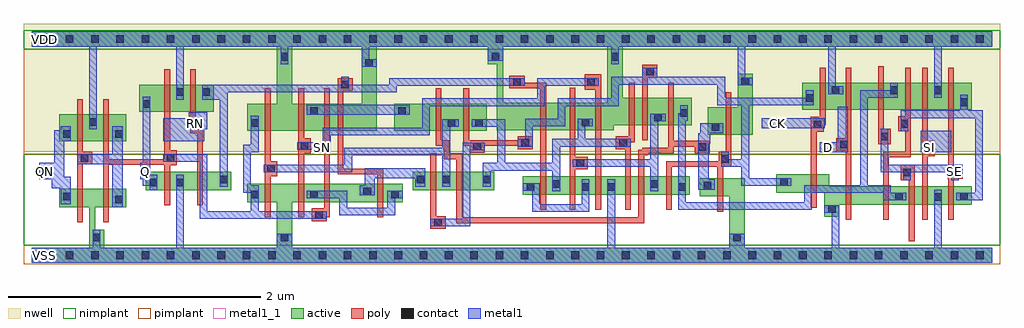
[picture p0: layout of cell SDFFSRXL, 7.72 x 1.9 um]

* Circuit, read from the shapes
.subckt SDFFSRXL CK D Q QN RN SE SI SN VDD VSS
M1 VSS n1 QN VSS nfet w=0.145u l=0.045u
M2 n1 n2 VSS VSS nfet w=0.145u l=0.045u
M3 VSS n2 Q VSS nfet w=0.145u l=0.045u
M4 n3 RN VSS VSS nfet w=0.145u l=0.045u
M5 VSS n4 n2 VSS nfet w=0.145u l=0.045u
M6 n5 SN VSS VSS nfet w=0.145u l=0.045u
M7 n6 n2 n5 VSS nfet w=0.145u l=0.045u
M8 n5 n3 n6 VSS nfet w=0.145u l=0.045u
M9 n4 n7 n6 VSS nfet w=0.145u l=0.045u
M10 n8 n9 n4 VSS nfet w=0.145u l=0.045u
M11 n8 n3 n10 VSS nfet w=0.145u l=0.045u
M12 n10 n11 n8 VSS nfet w=0.145u l=0.045u
M13 VSS SN n10 VSS nfet w=0.145u l=0.045u
M14 n12 n8 VSS VSS nfet w=0.145u l=0.045u
M15 n11 n9 n12 VSS nfet w=0.145u l=0.045u
M16 n13 n7 n11 VSS nfet w=0.145u l=0.045u
M17 VSS n7 n9 VSS nfet w=0.145u l=0.045u
M18 VSS CK n7 VSS nfet w=0.145u l=0.045u
M19 n14 D VSS VSS nfet w=0.145u l=0.045u
M20 n13 n15 n14 VSS nfet w=0.145u l=0.045u
M21 n16 SE n13 VSS nfet w=0.145u l=0.045u
M22 VSS SI n16 VSS nfet w=0.145u l=0.045u
M23 n15 SE VSS VSS nfet w=0.145u l=0.045u
M24 VDD n1 QN VDD pfet w=0.215u l=0.045u
M25 n1 n2 VDD VDD pfet w=0.215u l=0.045u
M26 VDD n2 Q VDD pfet w=0.215u l=0.045u
M27 n3 RN VDD VDD pfet w=0.215u l=0.045u
M28 VDD n4 n2 VDD pfet w=0.215u l=0.045u
M29 n17 SN VDD VDD pfet w=0.215u l=0.045u
M30 n18 n2 n17 VDD pfet w=0.215u l=0.045u
M31 VDD n3 n18 VDD pfet w=0.215u l=0.045u
M32 n4 n9 n17 VDD pfet w=0.215u l=0.045u
M33 n8 n7 n4 VDD pfet w=0.215u l=0.045u
M34 n19 n3 VDD VDD pfet w=0.215u l=0.045u
M35 n8 n11 n19 VDD pfet w=0.215u l=0.045u
M36 VDD SN n8 VDD pfet w=0.215u l=0.045u
M37 n20 n8 VDD VDD pfet w=0.215u l=0.045u
M38 n11 n7 n20 VDD pfet w=0.215u l=0.045u
M39 n13 n9 n11 VDD pfet w=0.215u l=0.045u
M40 VDD n7 n9 VDD pfet w=0.215u l=0.045u
M41 VDD CK n7 VDD pfet w=0.215u l=0.045u
M42 n21 D VDD VDD pfet w=0.215u l=0.045u
M43 n13 SE n21 VDD pfet w=0.215u l=0.045u
M44 n22 n15 n13 VDD pfet w=0.215u l=0.045u
M45 VDD SI n22 VDD pfet w=0.215u l=0.045u
M46 n15 SE VDD VDD pfet w=0.215u l=0.045u
.ends

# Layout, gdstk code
import gdstk
lib = gdstk.Library(unit=1e-6, precision=5e-10)
def R(c, l, rs):  # rectangles x0, y0, x1, y1
    for r in rs: c.add(gdstk.rectangle(r[:2], r[2:], *l))
def A(c, l, x, y, w, h, nx, ny, dx, dy):  # array of equal rectangles
    R(c, l, [(x+i*dx, y+j*dy, x+i*dx+w, y+j*dy+h) for i in range(nx) for j in range(ny)])
def P(c, l, *ps):  # polygons
    for p in ps: c.add(gdstk.Polygon(p, *l))
active = (1, 0)
nwell = (2, 0)
poly = (3, 0)
nimplant = (4, 0)
pimplant = (5, 0)
contact = (6, 0)
metal1 = (7, 0)
metal1_1 = (7, 1)

sdffsrxl = lib.new_cell('SDFFSRXL')
R(sdffsrxl, active, [(3.885,0.48,5.205,0.625), (0.905,0.515,1.58,0.66), (3.015,0.515,3.66,0.66), (0.22,0.9,0.75,1.115), (2.87,0.985,3.6,1.2), (0.85,1.135,1.44,1.35), (6.095,1.15,7.435,1.365)])
P(sdffsrxl, active, [(0,1.77),(7.6,1.77),(7.6,1.65),(4.675,1.65),(4.675,1.245),(5.22,1.245),(5.22,1.03),(4.605,1.03),(4.605,0.99),(3.68,0.99),(3.68,1.51),(3.61,1.51),(3.61,1.65),(3.73,1.65),(3.73,1.205),(4.555,1.205),(4.555,1.65),(2.73,1.65),(2.73,0.985),(1.705,0.985),(1.705,1.2),(1.94,1.2),(1.94,1.65),(2.06,1.65),(2.06,1.2),(2.61,1.2),(2.61,1.65),(0,1.65)],
  [(5.585,1.435),(5.705,1.435),(5.705,0.955),(5.35,0.955),(5.35,1.17),(5.585,1.17)],
  [(0.22,0.525),(0.75,0.525),(0.75,0.38),(0.505,0.38),(0.505,0.2),(0.575,0.2),(0.575,0.06),(1.94,0.06),(1.94,0.42),(1.705,0.42),(1.705,0.565),(2.935,0.565),(2.935,0.42),(2.06,0.42),(2.06,0.06),(5.52,0.06),(5.52,0.465),(5.285,0.465),(5.285,0.61),(5.64,0.61),(5.64,0.06),(7.6,0.06),(7.6,-0.06),(0,-0.06),(0,0.06),(0.455,0.06),(0.455,0.38),(0.22,0.38)],
  [(5.89,0.64),(6.31,0.64),(6.31,0.545),(7.435,0.545),(7.435,0.4),(6.39,0.4),(6.39,0.305),(6.27,0.305),(6.27,0.495),(5.89,0.495)])
R(sdffsrxl, nwell, [(-0.06,0.82,7.66,1.83)])
P(sdffsrxl, poly, [(0.565,1.235),(0.61,1.235),(0.61,0.76),(1.05,0.76),(1.05,1.47),(1.095,1.47),(1.095,0.83),(1.15,0.83),(1.15,0.71),(1.095,0.71),(1.095,0.395),(1.05,0.395),(1.05,0.715),(0.61,0.715),(0.61,0.26),(0.565,0.26)],
  [(1.255,1.47),(1.3,1.47),(1.3,1.085),(1.355,1.085),(1.355,0.395),(1.31,0.395),(1.31,0.965),(1.255,0.965)],
  [(0.36,1.235),(0.405,1.235),(0.405,0.82),(0.48,0.82),(0.48,0.72),(0.405,0.72),(0.405,0.26),(0.36,0.26)],
  [(1.845,1.32),(1.89,1.32),(1.89,0.745),(1.945,0.745),(1.945,0.625),(1.89,0.625),(1.89,0.3),(1.845,0.3)],
  [(2.42,1.4),(2.54,1.4),(2.54,1.3),(2.465,1.3),(2.465,0.685),(2.78,0.685),(2.78,0.3),(2.735,0.3),(2.735,0.64),(2.42,0.64)],
  [(2.11,1.32),(2.155,1.32),(2.155,0.925),(2.21,0.925),(2.21,0.805),(2.155,0.805),(2.155,0.3),(2.11,0.3)],
  [(2.315,1.32),(2.36,1.32),(2.36,0.3),(2.335,0.3),(2.335,0.27),(2.215,0.27),(2.215,0.37),(2.315,0.37)],
  [(3.195,1.32),(3.24,1.32),(3.24,0.91),(3.305,0.91),(3.305,0.805),(3.405,0.805),(3.405,0.3),(4.8,0.3),(4.8,0.835),(4.83,0.835),(4.83,0.85),(5.035,0.85),(5.035,1.365),(5.08,1.365),(5.08,0.905),(5.365,0.905),(5.365,0.805),(5.245,0.805),(5.245,0.86),(5.08,0.86),(5.08,0.805),(4.875,0.805),(4.875,0.79),(4.845,0.79),(4.845,0.255),(3.36,0.255),(3.36,0.76),(3.26,0.76),(3.26,0.865),(3.195,0.865)],
  [(3.415,1.32),(3.46,1.32),(3.46,0.91),(3.845,0.91),(3.845,0.94),(3.965,0.94),(3.965,0.84),(3.845,0.84),(3.845,0.865),(3.585,0.865),(3.585,0.81),(3.465,0.81),(3.465,0.865),(3.415,0.865)],
  [(4.375,1.43),(4.505,1.43),(4.505,0.36),(4.46,0.36),(4.46,1.31),(4.375,1.31)],
  [(3.78,1.42),(3.9,1.42),(3.9,1.365),(4.07,1.365),(4.07,0.36),(4.025,0.36),(4.025,1.32),(3.78,1.32)],
  [(4.255,1.325),(4.3,1.325),(4.3,0.78),(4.4,0.78),(4.4,0.68),(4.3,0.68),(4.3,0.36),(4.255,0.36)],
  [(4.83,1.505),(4.95,1.505),(4.95,1.405),(4.875,1.405),(4.875,0.91),(4.83,0.91)],
  [(6.235,1.485),(6.28,1.485),(6.28,1.03),(6.265,1.03),(6.265,0.975),(6.21,0.975),(6.21,0.375),(6.165,0.375),(6.165,1.095),(6.235,1.095)],
  [(6.44,1.485),(6.485,1.485),(6.485,0.28),(6.44,0.28),(6.44,0.825),(6.365,0.825),(6.365,0.925),(6.44,0.925)],
  [(6.695,1.495),(6.74,1.495),(6.74,1),(6.795,1),(6.795,0.88),(6.695,0.88)],
  [(6.91,1.485),(6.955,1.485),(6.955,0.775),(6.78,0.775),(6.78,0.28),(6.735,0.28),(6.735,0.82),(6.91,0.82),(6.91,0.98),(6.855,0.98),(6.855,1.1),(6.91,1.1)],
  [(7.045,1.485),(7.09,1.485),(7.09,0.905),(7.145,0.905),(7.145,0.785),(7.09,0.785),(7.09,0.28),(7.045,0.28)],
  [(7.25,1.485),(7.295,1.485),(7.295,0.705),(7.365,0.705),(7.365,0.605),(7.295,0.605),(7.295,0.28),(7.25,0.28),(7.25,0.605),(7.245,0.605),(7.245,0.705),(7.25,0.705)],
  [(4.725,1.365),(4.77,1.365),(4.77,0.895),(4.74,0.895),(4.74,0.36),(4.695,0.36),(4.695,0.84),(4.62,0.84),(4.62,0.94),(4.725,0.94)],
  [(5.49,1.29),(5.535,1.29),(5.535,0.7),(5.47,0.7),(5.47,0.345),(5.425,0.345),(5.425,0.7),(5.065,0.7),(5.065,0.36),(5.02,0.36),(5.02,0.745),(5.435,0.745),(5.435,0.82),(5.49,0.82)],
  [(3.155,0.805),(3.2,0.805),(3.2,0.31),(3.275,0.31),(3.275,0.21),(3.155,0.21)],
  [(6.875,0.715),(6.985,0.715),(6.985,0.11),(6.94,0.11),(6.94,0.595),(6.875,0.595)])
R(sdffsrxl, nimplant, [(-0.06,0.08,7.66,0.8), (-0.06,1.63,7.66,1.78)])
R(sdffsrxl, pimplant, [(-0.06,-0.07,7.66,0.08), (-0.06,0.8,7.66,1.63)])
A(sdffsrxl, contact, 0.07, -0.03, 0.06, 0.06, 38, 2, 0.2, 1.71)
R(sdffsrxl, contact, [(0.485,0.11,0.545,0.17), (1.97,0.11,2.03,0.17), (5.55,0.11,5.61,0.17), (3.185,0.23,3.245,0.29), (2.245,0.29,2.305,0.35), (6.3,0.335,6.36,0.395), (0.66,0.41,0.72,0.47), (7.14,0.43,7.2,0.49), (0.25,0.435,0.31,0.495), (6.83,0.435,6.89,0.495), (7.345,0.435,7.405,0.495), (1.735,0.45,1.795,0.51), (2.205,0.45,2.265,0.51), (2.845,0.45,2.905,0.51), (2.625,0.475,2.685,0.535), (3.915,0.51,3.975,0.57), (4.35,0.51,4.41,0.57), (4.555,0.51,4.615,0.57), (5.115,0.51,5.175,0.57), (5.315,0.52,5.375,0.58), (4.12,0.535,4.18,0.595), (4.895,0.535,4.955,0.595), (0.935,0.545,0.995,0.605), (1.145,0.545,1.205,0.605), (5.92,0.55,5.98,0.61), (1.49,0.57,1.55,0.63), (3.045,0.57,3.105,0.63), (3.25,0.57,3.31,0.63), (3.57,0.57,3.63,0.63), (6.895,0.625,6.955,0.685), (7.275,0.625,7.335,0.685), (1.865,0.655,1.925,0.715), (4.31,0.7,4.37,0.76), (5.455,0.73,5.515,0.79), (0.39,0.74,0.45,0.8), (1.07,0.74,1.13,0.8), (7.065,0.815,7.125,0.875), (5.275,0.825,5.335,0.885), (3.495,0.83,3.555,0.89), (2.13,0.835,2.19,0.895), (6.395,0.845,6.455,0.905), (3.875,0.86,3.935,0.92), (4.65,0.86,4.71,0.92), (6.715,0.91,6.775,0.97), (0.25,0.93,0.31,0.99), (0.66,0.93,0.72,0.99), (5.38,0.985,5.44,1.045), (1.275,0.995,1.335,1.055), (6.185,1.005,6.245,1.065), (6.875,1.01,6.935,1.07), (1.735,1.015,1.795,1.075), (3.29,1.015,3.35,1.075), (3.51,1.015,3.57,1.075), (4.35,1.02,4.41,1.08), (0.455,1.025,0.515,1.085), (4.925,1.06,4.985,1.12), (5.13,1.095,5.19,1.155), (2.205,1.11,2.265,1.17), (2.9,1.11,2.96,1.17), (0.88,1.165,0.94,1.225), (7.345,1.18,7.405,1.24), (6.125,1.215,6.185,1.275), (1.145,1.26,1.205,1.32), (1.35,1.26,1.41,1.32), (6.33,1.275,6.39,1.335), (6.79,1.275,6.85,1.335), (7.14,1.275,7.2,1.335), (2.45,1.32,2.51,1.38), (3.81,1.34,3.87,1.4), (4.395,1.34,4.455,1.4), (5.615,1.345,5.675,1.405), (4.86,1.425,4.92,1.485), (2.64,1.49,2.7,1.55), (1.97,1.54,2.03,1.6), (3.64,1.54,3.7,1.6), (4.585,1.54,4.645,1.6)])
R(sdffsrxl, metal1, [(7.035,0.815,7.275,0.985), (5.775,1.005,6.275,1.085), (2.175,1.11,2.99,1.19)])
P(sdffsrxl, metal1, [(0,1.77),(7.6,1.77),(7.6,1.65),(7.2,1.65),(7.2,1.245),(7.14,1.245),(7.14,1.65),(6.36,1.65),(6.36,1.335),(6.42,1.335),(6.42,1.275),(6.3,1.275),(6.3,1.65),(5.645,1.65),(5.645,1.405),(5.705,1.405),(5.705,1.345),(5.585,1.345),(5.585,1.65),(4.645,1.65),(4.645,1.51),(4.585,1.51),(4.585,1.65),(3.73,1.65),(3.73,1.54),(3.61,1.54),(3.61,1.65),(2.67,1.65),(2.67,1.55),(2.73,1.55),(2.73,1.49),(2.61,1.49),(2.61,1.65),(2.03,1.65),(2.03,1.51),(1.97,1.51),(1.97,1.65),(1.205,1.65),(1.205,1.23),(1.145,1.23),(1.145,1.65),(0.515,1.65),(0.515,0.995),(0.455,0.995),(0.455,1.65),(0,1.65)],
  [(2.45,1.41),(2.51,1.41),(2.51,1.35),(2.83,1.35),(2.83,1.4),(3.9,1.4),(3.9,1.34),(2.89,1.34),(2.89,1.29),(1.55,1.29),(1.55,0.54),(1.49,0.54),(1.49,1.23),(1.35,1.23),(1.35,1.35),(2.45,1.35)],
  [(0.88,1.255),(0.94,1.255),(0.94,0.635),(0.995,0.635),(0.995,0.515),(0.935,0.515),(0.935,0.55),(0.88,0.55),(0.88,0.6),(0.86,0.6),(0.86,0.73),(0.88,0.73)],
  [(4,1.4),(4.485,1.4),(4.485,1.34),(4.06,1.34),(4.06,1.18),(3.15,1.18),(3.15,0.95),(2.365,0.95),(2.365,0.815),(2.235,0.815),(2.235,0.835),(2.1,0.835),(2.1,0.895),(2.305,0.895),(2.305,1.01),(3.09,1.01),(3.09,1.24),(4,1.24)],
  [(4.83,1.485),(4.95,1.485),(4.95,1.41),(5.485,1.41),(5.485,1.245),(6.125,1.245),(6.125,1.305),(6.185,1.305),(6.185,1.185),(5.675,1.185),(5.675,0.61),(6.01,0.61),(6.01,0.55),(5.615,0.55),(5.615,0.7),(5.455,0.7),(5.455,0.82),(5.515,0.82),(5.515,0.76),(5.615,0.76),(5.615,1.185),(5.425,1.185),(5.425,1.35),(4.645,1.35),(4.645,1.18),(4.22,1.18),(4.22,1.02),(3.965,1.02),(3.965,0.86),(3.845,0.86),(3.845,0.92),(3.905,0.92),(3.905,1.08),(4.16,1.08),(4.16,1.24),(4.585,1.24),(4.585,1.41),(4.83,1.41)],
  [(6.79,1.365),(6.85,1.365),(6.85,1.245),(6.615,1.245),(6.615,0.555),(6.795,0.555),(6.795,0.495),(6.92,0.495),(6.92,0.435),(6.735,0.435),(6.735,0.495),(6.17,0.495),(6.17,0.36),(5.115,0.36),(5.115,1.125),(5.13,1.125),(5.13,1.185),(5.19,1.185),(5.19,1.065),(5.175,1.065),(5.175,0.42),(6.11,0.42),(6.11,0.555),(6.555,0.555),(6.555,1.305),(6.79,1.305)],
  [(0.23,1.02),(0.31,1.02),(0.31,0.9),(0.26,0.9),(0.26,0.62),(0.31,0.62),(0.31,0.405),(0.23,0.405),(0.23,0.53),(0.16,0.53),(0.16,0.6),(0.06,0.6),(0.06,0.73),(0.18,0.73),(0.18,0.99),(0.23,0.99)],
  [(1.245,1.13),(1.39,1.13),(1.39,0.995),(1.365,0.995),(1.365,0.9),(1.04,0.9),(1.04,1.085),(1.245,1.085)],
  [(0.64,1.02),(0.72,1.02),(0.72,0.38),(0.64,0.38),(0.64,0.72),(0.36,0.72),(0.36,0.8),(0.64,0.8)],
  [(1.735,1.105),(1.795,1.105),(1.795,0.815),(1.735,0.815),(1.735,0.555),(1.795,0.555),(1.795,0.35),(2.335,0.35),(2.335,0.29),(1.33,0.29),(1.33,0.74),(1.04,0.74),(1.04,0.8),(1.39,0.8),(1.39,0.35),(1.735,0.35),(1.735,0.495),(1.675,0.495),(1.675,0.875),(1.735,0.875)],
  [(0.485,0.2),(0.545,0.2),(0.545,0.06),(1.145,0.06),(1.145,0.635),(1.205,0.635),(1.205,0.06),(1.94,0.06),(1.94,0.17),(2.06,0.17),(2.06,0.06),(4.555,0.06),(4.555,0.6),(4.615,0.6),(4.615,0.06),(5.52,0.06),(5.52,0.17),(5.64,0.17),(5.64,0.06),(6.33,0.06),(6.33,0.335),(6.27,0.335),(6.27,0.395),(6.39,0.395),(6.39,0.06),(7.14,0.06),(7.14,0.52),(7.2,0.52),(7.2,0.06),(7.6,0.06),(7.6,-0.06),(0,-0.06),(0,0.06),(0.485,0.06)],
  [(7.345,1.27),(7.405,1.27),(7.405,1.145),(7.525,1.145),(7.525,0.435),(7.315,0.435),(7.315,0.495),(7.465,0.495),(7.465,1.085),(6.935,1.085),(6.935,0.98),(6.875,0.98),(6.875,1.145),(7.345,1.145)],
  [(3.25,1.075),(3.38,1.075),(3.38,1.015),(3.31,1.015),(3.31,0.54),(3.25,0.54),(3.25,0.79),(2.535,0.79),(2.535,0.655),(1.835,0.655),(1.835,0.715),(2.475,0.715),(2.475,0.85),(3.25,0.85)],
  [(3.48,1.075),(3.745,1.075),(3.745,0.73),(4.12,0.73),(4.12,0.92),(4.32,0.92),(4.32,1.08),(4.44,1.08),(4.44,1.02),(4.38,1.02),(4.38,0.92),(4.74,0.92),(4.74,0.86),(4.18,0.86),(4.18,0.505),(4.12,0.505),(4.12,0.67),(3.63,0.67),(3.63,0.54),(3.57,0.54),(3.57,0.73),(3.685,0.73),(3.685,1.015),(3.48,1.015)],
  [(2.635,0.69),(3.115,0.69),(3.115,0.54),(3.035,0.54),(3.035,0.61),(2.715,0.61),(2.715,0.475),(2.595,0.475),(2.595,0.555),(2.635,0.555)],
  [(2.175,0.51),(2.495,0.51),(2.495,0.375),(2.815,0.375),(2.815,0.51),(2.935,0.51),(2.935,0.45),(2.875,0.45),(2.875,0.315),(2.435,0.315),(2.435,0.45),(2.175,0.45)],
  [(3.41,0.89),(3.585,0.89),(3.585,0.83),(3.47,0.83),(3.47,0.23),(3.155,0.23),(3.155,0.29),(3.41,0.29)],
  [(4.895,1.12),(5.015,1.12),(5.015,1.06),(4.955,1.06),(4.955,0.505),(4.895,0.505),(4.895,0.7),(4.28,0.7),(4.28,0.76),(4.895,0.76)],
  [(3.885,0.57),(4.02,0.57),(4.02,0.405),(4.35,0.405),(4.35,0.6),(4.41,0.6),(4.41,0.345),(3.96,0.345),(3.96,0.51),(3.885,0.51)],
  [(5.29,1.045),(5.47,1.045),(5.47,0.965),(5.37,0.965),(5.37,0.885),(5.355,0.885),(5.355,0.6),(5.405,0.6),(5.405,0.52),(5.275,0.52),(5.275,0.965),(5.29,0.965)],
  [(6.375,1.175),(6.455,1.175),(6.455,0.815),(6.235,0.815),(6.235,0.895),(6.375,0.895)],
  [(6.715,1),(6.775,1),(6.775,0.715),(7.365,0.715),(7.365,0.625),(7.335,0.625),(7.335,0.595),(7.275,0.595),(7.275,0.625),(7.235,0.625),(7.235,0.655),(6.955,0.655),(6.955,0.595),(6.895,0.595),(6.895,0.655),(6.715,0.655)])
R(sdffsrxl, metal1_1, [(0.06,-0.04,0.14,0.04), (0.06,0.625,0.14,0.705), (0.86,0.625,0.94,0.705), (7.26,0.625,7.34,0.705), (2.26,0.815,2.34,0.895), (6.26,0.815,6.34,0.895), (7.06,0.815,7.14,0.895), (1.26,1.005,1.34,1.085), (5.86,1.005,5.94,1.085), (0.06,1.67,0.14,1.75)])
sdffsrxl.add(gdstk.Label('Q', (0.9,0.665), layer=7, texttype=1))
sdffsrxl.add(gdstk.Label('QN', (0.1,0.665), layer=7, texttype=1))
sdffsrxl.add(gdstk.Label('SE', (7.3,0.665), layer=7, texttype=1))
sdffsrxl.add(gdstk.Label('SI', (7.1,0.855), layer=7, texttype=1))
sdffsrxl.add(gdstk.Label('D', (6.3,0.855), layer=7, texttype=1))
sdffsrxl.add(gdstk.Label('CK', (5.9,1.045), layer=7, texttype=1))
sdffsrxl.add(gdstk.Label('SN', (2.3,0.855), layer=7, texttype=1))
sdffsrxl.add(gdstk.Label('RN', (1.3,1.045), layer=7, texttype=1))
sdffsrxl.add(gdstk.Label('VDD', (0.1,1.71), layer=7, texttype=1))
sdffsrxl.add(gdstk.Label('VSS', (0.1,0), layer=7, texttype=1))
sdffsrxl.add(gdstk.Label('SDFFSRXL', (0,0), layer=63, texttype=0))

lib.write_gds('SDFFSRXL.gds')
